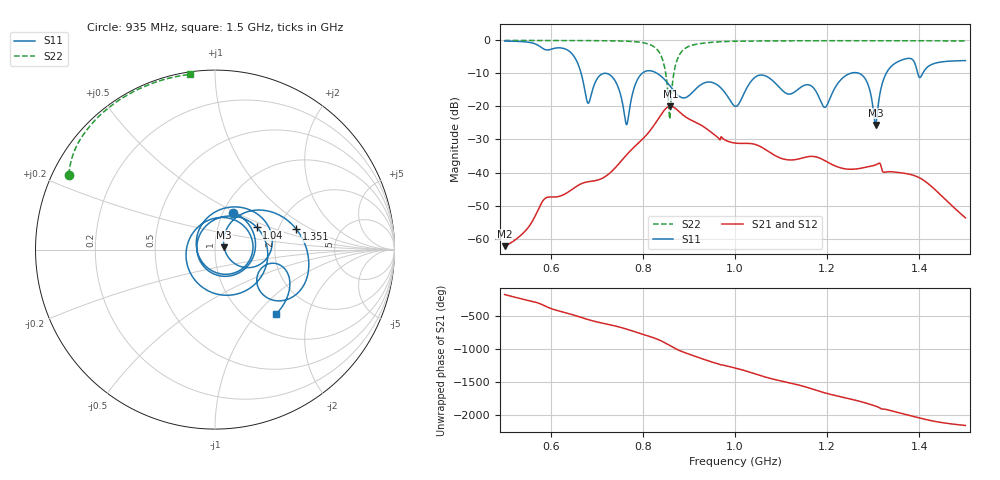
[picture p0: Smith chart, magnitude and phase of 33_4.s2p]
! TOUCHSTONE file generated by CST MICROWAVE STUDIO
! Date and time: Sat Nov 14 20:02:52 2020
! Project name: Scenario_1_Planar_Body_Tissue_Out_of_Line.cst
! Parameters = {dy1=-207.6; L_HA=400; Ltissue=700; MT=2.54; Rad_Dielectric=30; Rad_Lower=7.3; Rad_Upper=30; Wtissue=700; a_HA=580; a_WG=246; b_HA=500; b_WG=121; c_HA=0; c_WG=187; d_feed=85; dx1=693; h_feed=15; h_lower=18; h_upper=40; hfat=3; hgap=25; hmuscle=50; hskin=1.5}
! Header version: 2018
! Port assignment regex: !\s*Touchstone port\s*([0-9]+)\s*=\s*(CST MWS port|CST DS port)\s*([0-9]+|Zmin|Zmax)\s*\(\"(.*)\"\)(\s*mode\s*([0-9]+))?.*
! Touchstone port assignment:
! Touchstone port 1 = CST MWS port 1 ("")
! Touchstone port 2 = CST MWS port 2 ("")
# GHz S DB R 50
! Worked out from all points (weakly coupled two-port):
!   1003 points, 500 MHz to 1.5 GHz, reference 50 ohm
!   highest |S21| = -19.94 dB at 860 MHz (marker M1); lowest = -62.3 dB at 500 MHz (marker M2)
!   lowest |S11| = -25.6 dB at 1.305 GHz (marker M3), VSWR 1.11, Z = 55.3 + j1.37 ohm
!   |S11| at or under -10 dB: 721.5 MHz to 798.2 MHz (76.68 MHz wide, 10.1 % of centre); 831.3 MHz to 1.25 GHz (418.5 MHz wide, 40.2 % of centre); 1.27 GHz to 1.328 GHz (58.11 MHz wide, 4.47 % of centre) (the widest 3 of 5)
!   |S22| runs from -23.8 to 0.0 dB; largest |S21 - S12| = 0.0012
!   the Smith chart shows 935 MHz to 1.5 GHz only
!   S11 on the Smith chart (normalised r, x): 935 MHz: 1.11, +0.49; 1.04 GHz: 1.54, +0.41; 1.351 GHz: 2.50, +0.73; 1.5 GHz: 1.33, -1.27
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0.5  -0.19 -121.6  -62.31 -177.7  -62.31 -177.7  -0.01 151.2
0.621  -2.25 173.6  -47.11 -73.0  -47.11 -73.0  -0.02 142.5
0.667  -10.47 108.9  -43.36 -166.3  -43.36 -166.3  -0.04 138.4
0.682  -19.01 148.7  -42.78 161.0  -42.78 161.0  -0.05 136.9
0.732  -10.84 118.9  -39.72 78.7  -39.72 78.7  -0.12 130.6
0.765  -25.52 -34.3  -34.60 17.3  -34.60 17.3  -0.23 124.4
0.793  -10.80 175.4  -30.74 -44.9  -30.74 -44.9  -0.53 115.8
0.834  -10.25 63.6  -23.63 -142.7  -23.63 -142.7  -3.28 84.5
0.86  -13.97 -11.8  -19.95 122.0  -19.95 122.0  -21.05 -94.6
0.88  -17.01 -81.1  -21.71 51.1  -21.71 51.1  -4.22 -171.4
0.935  -12.78 64.0  -26.42 -87.6  -26.42 -87.6  -0.76 152.9
1  -19.93 -161.0  -31.08 147.8  -31.08 147.8  -0.26 140.3
1.04  -11.57 27.9  -31.36 67.7  -31.36 67.7  -0.18 135.5
1.074  -11.33 -68.1  -33.77 -4.9  -33.77 -4.9  -0.14 132.1
1.107  -15.65 -168.1  -35.98 -59.9  -35.98 -59.9  -0.12 129.1
1.167  -13.92 -17.4  -35.11 -168.6  -35.11 -168.6  -0.09 124.2
1.196  -20.22 -164.2  -36.48 128.8  -36.48 128.8  -0.09 122.0
1.271  -10.07 0.3  -38.76 1.9  -38.76 1.9  -0.08 116.3
1.305  -25.63 13.6  -37.70 -69.9  -37.70 -69.9  -0.09 113.7
1.334  -8.67 35.5  -39.75 -131.2  -39.75 -131.2  -0.09 111.6
1.351  -6.62 14.3  -39.93 -162.3  -39.93 -162.3  -0.09 110.3
1.5  -6.11 -46.9  -53.73 -3.7  -53.73 -3.7  -0.13 98.0
